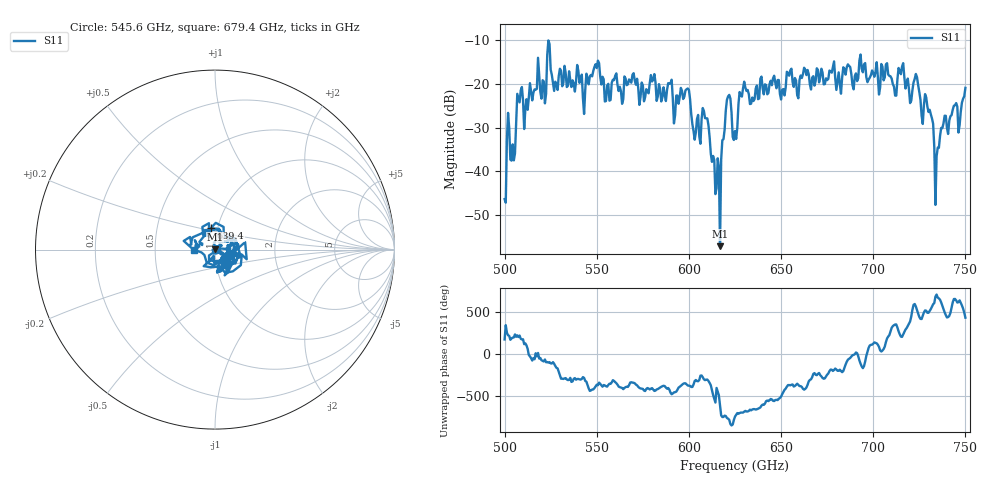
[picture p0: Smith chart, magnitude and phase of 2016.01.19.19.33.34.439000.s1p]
!Created with skrf (http://scikit-rf.org).
# GHz S RI R 50.0
!freq ReS11 ImS11
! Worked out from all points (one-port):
!   401 points, 500 GHz to 750 GHz, reference 50 ohm
!   lowest |S11| = -57.2 dB at 616.9 GHz (marker M1), VSWR 1.00, Z = 50 + j0.136 ohm
!   |S11| at or under -10 dB: start of sweep to end of sweep
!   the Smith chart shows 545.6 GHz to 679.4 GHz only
!   S11 on the Smith chart (normalised r, x): 545.6 GHz: 1.10, -0.18; 639.4 GHz: 0.93, +0.23; 679.4 GHz: 0.79, -0.01
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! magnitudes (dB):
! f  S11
! 500 GHz  -46.4
! 502.5 GHz  -30.1
! 504.4 GHz  -33.9
! 508.1 GHz  -24.2
! 521.2 GHz  -19.4
! 524.4 GHz  -10.9
! 527.5 GHz  -19.5
! 531.2 GHz  -20.5
! 545.6 GHz  -20.1
! 562.5 GHz  -20.7
! 593.8 GHz  -22.7
! 599.4 GHz  -21.0
! 603.1 GHz  -32.8
! 608.8 GHz  -27.9
! 615.6 GHz  -37.1
! 616.9 GHz  -57.2
! 621.2 GHz  -22.9
! 625 GHz  -30.8
! 628.8 GHz  -22.9
! 639.4 GHz  -18.3
! 656.2 GHz  -19.6
! 679.4 GHz  -18.7
! 687.5 GHz  -16.1
! 718.8 GHz  -18.8
! 729.4 GHz  -25.2
! 734.4 GHz  -36.6
! 738.1 GHz  -29.0
! 750 GHz  -20.9
